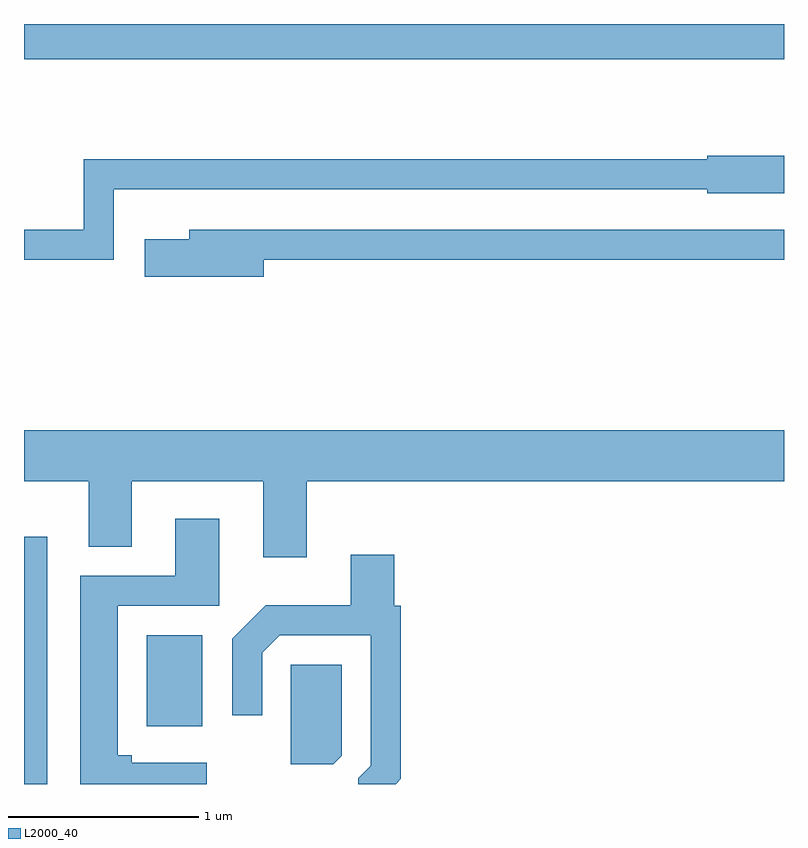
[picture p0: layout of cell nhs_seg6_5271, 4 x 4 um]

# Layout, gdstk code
import gdstk
lib = gdstk.Library(unit=1e-6, precision=1e-09)
def R(c, l, rs):  # rectangles x0, y0, x1, y1
    for r in rs: c.add(gdstk.rectangle(r[:2], r[2:], *l))
def P(c, l, *ps):  # polygons
    for p in ps: c.add(gdstk.Polygon(p, *l))
L2000_40 = (2000, 40)

nhs_seg6_5271 = lib.new_cell('nhs_seg6_5271')
R(nhs_seg6_5271, L2000_40, [(345.611,1606.162,345.734,1607.464), (346.256,1606.466,346.549,1606.944), (345.611,1609.976,349.611,1610.162)])
P(nhs_seg6_5271, L2000_40, [(346.084,1609.291),(349.206,1609.291),(349.206,1609.271),(349.611,1609.271),(349.611,1609.469),(349.206,1609.469),(349.206,1609.449),(345.926,1609.449),(345.926,1609.079),(345.611,1609.079),(345.611,1608.921),(346.084,1608.921)],
  [(346.874,1608.921),(349.611,1608.921),(349.611,1609.079),(346.481,1609.079),(346.481,1609.029),(346.246,1609.029),(346.246,1608.831),(346.874,1608.831)],
  [(347.099,1607.756),(349.611,1607.756),(349.611,1608.024),(345.611,1608.024),(345.611,1607.756),(345.951,1607.756),(345.951,1607.411),(346.179,1607.411),(346.179,1607.756),(346.871,1607.756),(346.871,1607.356),(347.099,1607.356)],
  [(346.574,1606.274),(346.179,1606.274),(346.179,1606.314),(346.104,1606.314),(346.104,1607.101),(346.639,1607.101),(346.639,1607.559),(346.406,1607.559),(346.406,1607.259),(345.906,1607.259),(345.906,1606.162),(346.574,1606.162)],
  [(347.594,1606.189),(347.594,1607.099),(347.559,1607.099),(347.559,1607.369),(347.331,1607.369),(347.331,1607.104),(346.884,1607.104),(346.706,1606.927),(346.706,1606.523),(346.864,1606.523),(346.864,1606.854),(346.957,1606.946),(347.436,1606.946),(347.436,1606.257),(347.371,1606.192),(347.371,1606.162),(347.567,1606.162)],
  [(347.284,1606.312),(347.284,1606.789),(347.016,1606.789),(347.016,1606.266),(347.239,1606.266)])

lib.write_gds('nhs_seg6_5271.gds')
